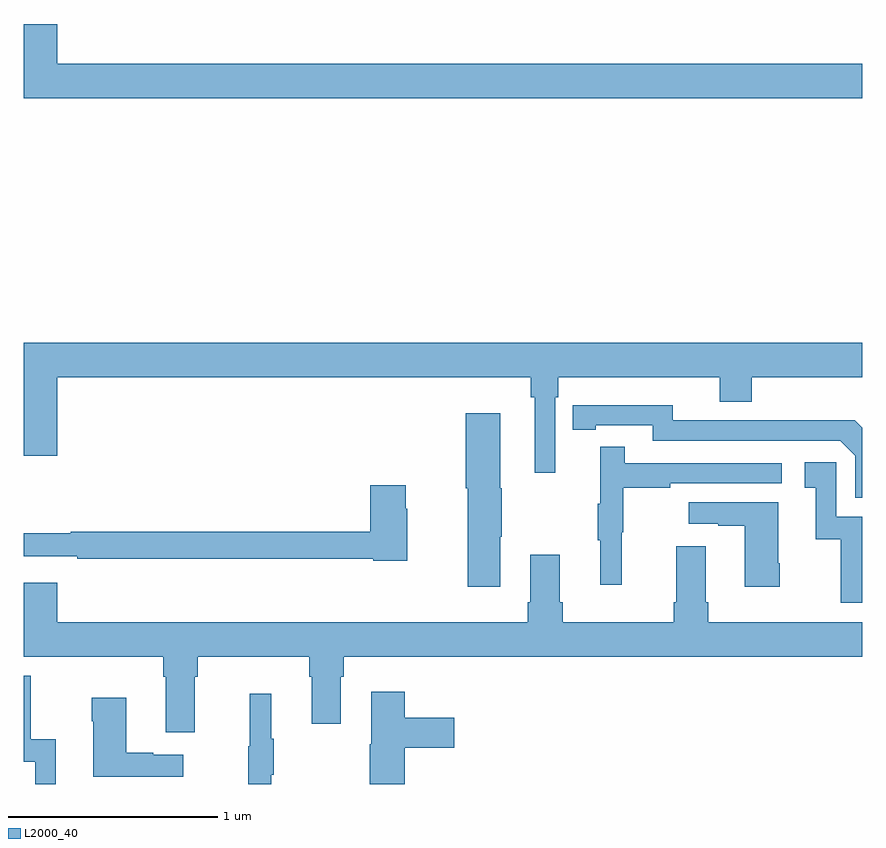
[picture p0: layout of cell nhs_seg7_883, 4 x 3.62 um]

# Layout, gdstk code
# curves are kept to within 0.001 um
import gdstk
lib = gdstk.Library(unit=1e-6, precision=1e-09)
def P(c, l, *ps):  # polygons
    for p in ps: c.add(gdstk.Polygon(p, *l))
L2000_40 = (2000, 40)

nhs_seg7_883 = lib.new_cell('nhs_seg7_883')
P(nhs_seg7_883, L2000_40, [(181,1011.436),(177.16,1011.436),(177.16,1011.625),(177,1011.625),(177,1011.272),(181,1011.272)],
  [(179.535,1009.844),(179.549,1009.844),(179.549,1009.94),(180.32,1009.94),(180.32,1009.823),(180.473,1009.823),(180.473,1009.94),(181,1009.94),(181,1010.104),(177,1010.104),(177,1009.566),(177.16,1009.566),(177.16,1009.94),(179.419,1009.94),(179.419,1009.844),(179.438,1009.844),(179.438,1009.485),(179.535,1009.485)],
  [(181,1009.7),(180.964,1009.736),(180.556,1009.736),(180.556,1009.734),(180.096,1009.734),(180.096,1009.807),(179.62,1009.806),(179.62,1009.69),(179.728,1009.69),(179.728,1009.71),(180,1009.71),(180,1009.638),(180.894,1009.638),(180.966,1009.566),(180.966,1009.365),(181,1009.365)],
  [(179.272,1009.18),(179.28,1009.18),(179.28,1009.41),(179.272,1009.41),(179.272,1009.768),(179.108,1009.768),(179.108,1009.41),(179.119,1009.41),(179.119,1008.942),(179.272,1008.942)],
  [(179.852,1009.2),(179.86,1009.2),(179.86,1009.414),(180.083,1009.414),(180.083,1009.434),(180.616,1009.434),(180.616,1009.53),(179.867,1009.53),(179.867,1009.609),(179.75,1009.609),(179.75,1009.337),(179.739,1009.337),(179.739,1009.163),(179.75,1009.163),(179.75,1008.951),(179.852,1008.951)],
  [(181,1009.275),(180.876,1009.275),(180.876,1009.534),(180.726,1009.534),(180.726,1009.413),(180.779,1009.413),(180.779,1009.167),(180.897,1009.167),(180.897,1008.864),(181,1008.864)],
  [(178.83,1009.313),(178.822,1009.313),(178.822,1009.426),(178.652,1009.426),(178.652,1009.202),(177.224,1009.202),(177.224,1009.195),(177,1009.195),(177,1009.086),(177.256,1009.086),(177.256,1009.074),(178.668,1009.074),(178.668,1009.066),(178.83,1009.066)],
  [(180.606,1009.054),(180.598,1009.054),(180.598,1009.345),(180.171,1009.345),(180.171,1009.241),(180.314,1009.241),(180.314,1009.231),(180.44,1009.231),(180.44,1008.942),(180.606,1008.942)],
  [(177.817,1008.512),(177.83,1008.512),(177.83,1008.608),(178.361,1008.608),(178.361,1008.512),(178.373,1008.512),(178.373,1008.288),(178.513,1008.288),(178.513,1008.512),(178.526,1008.512),(178.526,1008.608),(181,1008.608),(181,1008.772),(180.266,1008.772),(180.266,1008.868),(180.253,1008.868),(180.253,1009.135),(180.113,1009.135),(180.113,1008.868),(180.101,1008.868),(180.101,1008.772),(179.57,1008.772),(179.57,1008.868),(179.557,1008.868),(179.557,1009.093),(179.417,1009.093),(179.417,1008.868),(179.405,1008.868),(179.405,1008.772),(177.16,1008.772),(177.16,1008.961),(177,1008.961),(177,1008.608),(177.665,1008.608),(177.665,1008.512),(177.677,1008.512),(177.677,1008.246),(177.817,1008.246)],
  [(177.152,1008.214),(177.034,1008.214),(177.034,1008.516),(177,1008.516),(177,1008.105),(177.054,1008.105),(177.054,1008),(177.152,1008)],
  [(178.817,1008.173),(179.053,1008.173),(179.053,1008.315),(178.817,1008.315),(178.817,1008.439),(178.658,1008.439),(178.658,1008.189),(178.651,1008.189),(178.651,1008),(178.817,1008)],
  [(178.181,1008.043),(178.192,1008.043),(178.192,1008.217),(178.181,1008.217),(178.181,1008.43),(178.078,1008.43),(178.078,1008.18),(178.071,1008.18),(178.071,1008),(178.181,1008)],
  [(177.76,1008.139),(177.617,1008.139),(177.617,1008.149),(177.49,1008.149),(177.49,1008.412),(177.325,1008.412),(177.325,1008.299),(177.332,1008.299),(177.332,1008.035),(177.76,1008.035)])

lib.write_gds('nhs_seg7_883.gds')
